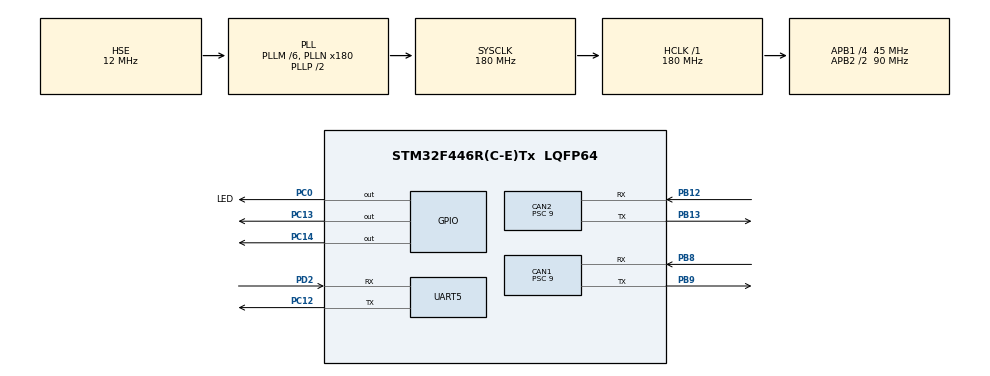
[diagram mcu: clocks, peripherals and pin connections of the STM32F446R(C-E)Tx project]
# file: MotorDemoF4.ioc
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CAN1.BS1=CAN_BS1_3TQ
CAN1.CalculateBaudRate=1000000
CAN1.CalculateTimeBit=1000
CAN1.CalculateTimeQuantum=200.0
CAN1.NART=ENABLE
CAN1.Prescaler=9
CAN2.BS1=CAN_BS1_3TQ
CAN2.CalculateBaudRate=1000000
CAN2.CalculateTimeBit=1000
CAN2.CalculateTimeQuantum=200.0
CAN2.Prescaler=9
Dma.Request0=UART5_TX
Dma.UART5_TX.0.Direction=DMA_MEMORY_TO_PERIPH
Dma.UART5_TX.0.FIFOMode=DMA_FIFOMODE_DISABLE
Dma.UART5_TX.0.Instance=DMA1_Stream7
Dma.UART5_TX.0.MemDataAlignment=DMA_MDATAALIGN_BYTE
Dma.UART5_TX.0.MemInc=DMA_MINC_ENABLE
Dma.UART5_TX.0.Mode=DMA_NORMAL
Dma.UART5_TX.0.PeriphDataAlignment=DMA_PDATAALIGN_BYTE
Dma.UART5_TX.0.PeriphInc=DMA_PINC_DISABLE
Dma.UART5_TX.0.Priority=DMA_PRIORITY_LOW
Mcu.Family=STM32F4
Mcu.Name=STM32F446R(C-E)Tx
Mcu.Package=LQFP64
NVIC.CAN1_RX0_IRQn=true\:0\:0\:false\:false\:true\:true\:true\:true
NVIC.CAN1_RX1_IRQn=true\:0\:0\:false\:false\:true\:true\:true\:true
NVIC.CAN1_SCE_IRQn=true\:0\:0\:false\:false\:true\:true\:true\:true
NVIC.CAN1_TX_IRQn=true\:0\:0\:false\:false\:true\:true\:true\:true
NVIC.CAN2_RX0_IRQn=true\:0\:0\:false\:false\:true\:true\:true\:true
NVIC.CAN2_RX1_IRQn=true\:0\:0\:false\:false\:true\:true\:true\:true
NVIC.CAN2_SCE_IRQn=true\:0\:0\:false\:false\:true\:true\:true\:true
NVIC.CAN2_TX_IRQn=true\:0\:0\:false\:false\:true\:true\:true\:true
NVIC.DMA1_Stream7_IRQn=true\:0\:0\:false\:false\:true\:false\:true\:true
NVIC.PriorityGroup=NVIC_PRIORITYGROUP_4
NVIC.UART5_IRQn=true\:0\:0\:false\:false\:true\:true\:true\:true
PA13.Mode=Serial_Wire
PA13.Signal=SYS_JTMS-SWDIO
PA14.Mode=Serial_Wire
PA14.Signal=SYS_JTCK-SWCLK
PB12.Mode=CAN_Activate
PB12.Signal=CAN2_RX
PB13.Mode=CAN_Activate
PB13.Signal=CAN2_TX
PB8.Mode=CAN_Activate
PB8.Signal=CAN1_RX
PB9.Mode=CAN_Activate
PB9.Signal=CAN1_TX
PC0.GPIO_Label=LED
PC0.Signal=GPIO_Output
PC12.Mode=Asynchronous
PC12.Signal=UART5_TX
PC13.PinState=GPIO_PIN_SET
PC13.Signal=GPIO_Output
PC14-OSC32_IN.PinState=GPIO_PIN_SET
PC14-OSC32_IN.Signal=GPIO_Output
PD2.Mode=Asynchronous
PD2.Signal=UART5_RX
PH0-OSC_IN.Mode=HSE-External-Oscillator
PH0-OSC_IN.Signal=RCC_OSC_IN
PH1-OSC_OUT.Mode=HSE-External-Oscillator
PH1-OSC_OUT.Signal=RCC_OSC_OUT
ProjectManager.HeapSize=0x200
ProjectManager.StackSize=0x400
ProjectManager.TargetToolchain=MDK-ARM V5.32
RCC.AHBFreq_Value=180000000
RCC.APB1CLKDivider=RCC_HCLK_DIV4
RCC.APB1Freq_Value=45000000
RCC.APB1TimFreq_Value=90000000
RCC.APB2CLKDivider=RCC_HCLK_DIV2
RCC.APB2Freq_Value=90000000
RCC.APB2TimFreq_Value=180000000
RCC.CortexFreq_Value=180000000
RCC.HCLKFreq_Value=180000000
RCC.HSE_VALUE=12000000
RCC.PLLM=6
RCC.PLLN=180
RCC.PLLSourceVirtual=RCC_PLLSOURCE_HSE
RCC.SYSCLKFreq_VALUE=180000000
RCC.SYSCLKSource=RCC_SYSCLKSOURCE_PLLCLK
RCC.USBFreq_Value=180000000
RCC.VCOOutputFreq_Value=360000000
UART5.VirtualMode=Asynchronous
board=custom

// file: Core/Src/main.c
/* USER CODE BEGIN Header */
/**
  ******************************************************************************
  * @file           : main.c
  * @brief          : Main program body
  ******************************************************************************
  * @attention
  *
  * Copyright (c) 2024 STMicroelectronics.
  * All rights reserved.
  *
  * This software is licensed under terms that can be found in the LICENSE file
  * in the root directory of this software component.
  * If no LICENSE file comes with this software, it is provided AS-IS.
  *
  ******************************************************************************
  */
/* USER CODE END Header */
#include "main.h"
#include "can.h"
#include "dma.h"
#include "usart.h"
#include "gpio.h"

/* USER CODE BEGIN Includes */
#include "my_can.h"
#include "led.h"

#include "hightorque_can.h"
#include "motor.h"
#include "motor_control.h"
#include "motor_config.h"
#include "test_motor.h"
/* USER CODE END Includes */

void SystemClock_Config(void);

int main(void)
{
    /* USER CODE BEGIN 1 */
    uint32_t tick_print = 0;
    uint32_t tick_ctrl = 0;
    /* USER CODE END 1 */

    /* MCU Configuration--------------------------------------------------------*/

    /* Reset of all peripherals, Initializes the Flash interface and the Systick. */
    HAL_Init();

    /* Configure the system clock */
    SystemClock_Config();

    /* Initialize all configured peripherals */
    MX_GPIO_Init();
    MX_DMA_Init();
    MX_CAN1_Init();
    MX_CAN2_Init();
    MX_UART5_Init();
    /* USER CODE BEGIN 2 */
    can_filter_init(&hcan1);
    can_filter_init(&hcan2);
    printf("此工程引脚配置适用于damiao_MC01\r\n");
    printf("例程版本号："MOTOR_SDK_VERSION"\r\n");
    /* USER CODE END 2 */

    /* Infinite loop */
    while (1)
    {

        /* USER CODE BEGIN 3 */
        /* ---- 100Hz: 控制例程调用 (test_motor_control) ---- */
        if(HAL_GetTick() - tick_ctrl >= 10)
        {
            tick_ctrl = HAL_GetTick();
            test_motor_control(1);
        }
        /* ---- 500ms: 终端打印 + LED ---- */
        if(HAL_GetTick() - tick_print >= 500)
        {
            tick_print = HAL_GetTick();
            led_toggle();
            test_motor_print_state();
        }
        motor_process_state_all();
    }
    /* USER CODE END 3 */
}

void SystemClock_Config(void)
{
    RCC_OscInitTypeDef RCC_OscInitStruct = {0};
    RCC_ClkInitTypeDef RCC_ClkInitStruct = {0};

    /** Configure the main internal regulator output voltage
    */
    __HAL_RCC_PWR_CLK_ENABLE();
    __HAL_PWR_VOLTAGESCALING_CONFIG(PWR_REGULATOR_VOLTAGE_SCALE1);

    /** Initializes the RCC Oscillators according to the specified parameters
    * in the RCC_OscInitTypeDef structure.
    */
    RCC_OscInitStruct.OscillatorType = RCC_OSCILLATORTYPE_HSE;
    RCC_OscInitStruct.HSEState = RCC_HSE_ON;
    RCC_OscInitStruct.PLL.PLLState = RCC_PLL_ON;
    RCC_OscInitStruct.PLL.PLLSource = RCC_PLLSOURCE_HSE;
    RCC_OscInitStruct.PLL.PLLM = 6;
    RCC_OscInitStruct.PLL.PLLN = 180;
    RCC_OscInitStruct.PLL.PLLP = RCC_PLLP_DIV2;
    RCC_OscInitStruct.PLL.PLLQ = 2;
    RCC_OscInitStruct.PLL.PLLR = 2;
    if (HAL_RCC_OscConfig(&RCC_OscInitStruct) != HAL_OK)
    {
        Error_Handler();
    }

    /** Activate the Over-Drive mode
    */
    if (HAL_PWREx_EnableOverDrive() != HAL_OK)
    {
        Error_Handler();
    }

    /** Initializes the CPU, AHB and APB buses clocks
    */
    RCC_ClkInitStruct.ClockType = RCC_CLOCKTYPE_HCLK | RCC_CLOCKTYPE_SYSCLK
                                  | RCC_CLOCKTYPE_PCLK1 | RCC_CLOCKTYPE_PCLK2;
    RCC_ClkInitStruct.SYSCLKSource = RCC_SYSCLKSOURCE_PLLCLK;
    RCC_ClkInitStruct.AHBCLKDivider = RCC_SYSCLK_DIV1;
    RCC_ClkInitStruct.APB1CLKDivider = RCC_HCLK_DIV4;
    RCC_ClkInitStruct.APB2CLKDivider = RCC_HCLK_DIV2;

    if (HAL_RCC_ClockConfig(&RCC_ClkInitStruct, FLASH_LATENCY_5) != HAL_OK)
    {
        Error_Handler();
    }
}

void Error_Handler(void)
{
    __disable_irq();
    while (1)
    {
    }
}
